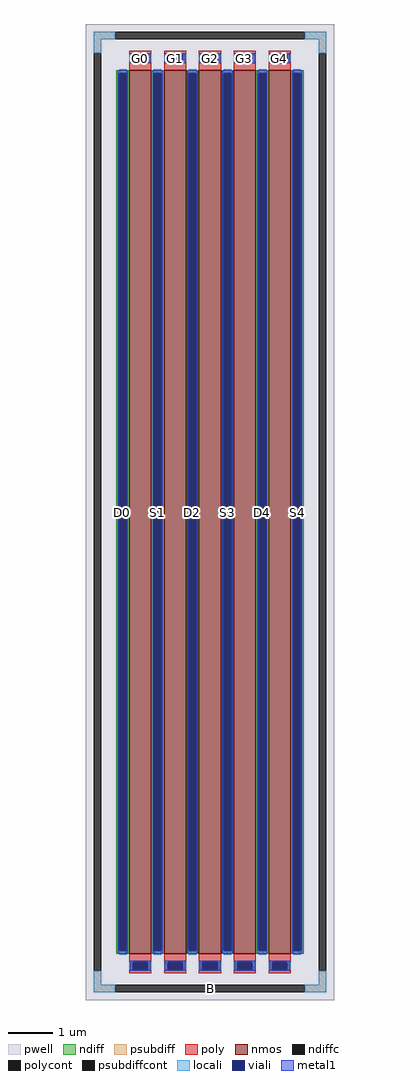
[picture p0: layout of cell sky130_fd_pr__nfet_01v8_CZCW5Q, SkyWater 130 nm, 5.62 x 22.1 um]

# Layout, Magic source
magic
tech sky130A
magscale 1 2
<< pwell >>
rect -562 -2210 562 2210
<< nmos >>
rect -366 -2000 -266 2000
rect -208 -2000 -108 2000
rect -50 -2000 50 2000
rect 108 -2000 208 2000
rect 266 -2000 366 2000
<< ndiff >>
rect -424 1988 -366 2000
rect -424 -1988 -412 1988
rect -378 -1988 -366 1988
rect -424 -2000 -366 -1988
rect -266 1988 -208 2000
rect -266 -1988 -254 1988
rect -220 -1988 -208 1988
rect -266 -2000 -208 -1988
rect -108 1988 -50 2000
rect -108 -1988 -96 1988
rect -62 -1988 -50 1988
rect -108 -2000 -50 -1988
rect 50 1988 108 2000
rect 50 -1988 62 1988
rect 96 -1988 108 1988
rect 50 -2000 108 -1988
rect 208 1988 266 2000
rect 208 -1988 220 1988
rect 254 -1988 266 1988
rect 208 -2000 266 -1988
rect 366 1988 424 2000
rect 366 -1988 378 1988
rect 412 -1988 424 1988
rect 366 -2000 424 -1988
<< ndiffc >>
rect -412 -1988 -378 1988
rect -254 -1988 -220 1988
rect -96 -1988 -62 1988
rect 62 -1988 96 1988
rect 220 -1988 254 1988
rect 378 -1988 412 1988
<< psubdiff >>
rect -526 2140 -430 2174
rect 430 2140 526 2174
rect -526 2078 -492 2140
rect 492 2078 526 2140
rect -526 -2140 -492 -2078
rect 492 -2140 526 -2078
rect -526 -2174 -430 -2140
rect 430 -2174 526 -2140
<< psubdiffcont >>
rect -430 2140 430 2174
rect -526 -2078 -492 2078
rect 492 -2078 526 2078
rect -430 -2174 430 -2140
<< poly >>
rect -366 2072 -266 2088
rect -366 2038 -350 2072
rect -282 2038 -266 2072
rect -366 2000 -266 2038
rect -208 2072 -108 2088
rect -208 2038 -192 2072
rect -124 2038 -108 2072
rect -208 2000 -108 2038
rect -50 2072 50 2088
rect -50 2038 -34 2072
rect 34 2038 50 2072
rect -50 2000 50 2038
rect 108 2072 208 2088
rect 108 2038 124 2072
rect 192 2038 208 2072
rect 108 2000 208 2038
rect 266 2072 366 2088
rect 266 2038 282 2072
rect 350 2038 366 2072
rect 266 2000 366 2038
rect -366 -2038 -266 -2000
rect -366 -2072 -350 -2038
rect -282 -2072 -266 -2038
rect -366 -2088 -266 -2072
rect -208 -2038 -108 -2000
rect -208 -2072 -192 -2038
rect -124 -2072 -108 -2038
rect -208 -2088 -108 -2072
rect -50 -2038 50 -2000
rect -50 -2072 -34 -2038
rect 34 -2072 50 -2038
rect -50 -2088 50 -2072
rect 108 -2038 208 -2000
rect 108 -2072 124 -2038
rect 192 -2072 208 -2038
rect 108 -2088 208 -2072
rect 266 -2038 366 -2000
rect 266 -2072 282 -2038
rect 350 -2072 366 -2038
rect 266 -2088 366 -2072
<< polycont >>
rect -350 2038 -282 2072
rect -192 2038 -124 2072
rect -34 2038 34 2072
rect 124 2038 192 2072
rect 282 2038 350 2072
rect -350 -2072 -282 -2038
rect -192 -2072 -124 -2038
rect -34 -2072 34 -2038
rect 124 -2072 192 -2038
rect 282 -2072 350 -2038
<< locali >>
rect -526 2140 -430 2174
rect 430 2140 526 2174
rect -526 2078 -492 2140
rect 492 2078 526 2140
rect -366 2038 -350 2072
rect -282 2038 -266 2072
rect -208 2038 -192 2072
rect -124 2038 -108 2072
rect -50 2038 -34 2072
rect 34 2038 50 2072
rect 108 2038 124 2072
rect 192 2038 208 2072
rect 266 2038 282 2072
rect 350 2038 366 2072
rect -412 1988 -378 2004
rect -412 -2004 -378 -1988
rect -254 1988 -220 2004
rect -254 -2004 -220 -1988
rect -96 1988 -62 2004
rect -96 -2004 -62 -1988
rect 62 1988 96 2004
rect 62 -2004 96 -1988
rect 220 1988 254 2004
rect 220 -2004 254 -1988
rect 378 1988 412 2004
rect 378 -2004 412 -1988
rect -366 -2072 -350 -2038
rect -282 -2072 -266 -2038
rect -208 -2072 -192 -2038
rect -124 -2072 -108 -2038
rect -50 -2072 -34 -2038
rect 34 -2072 50 -2038
rect 108 -2072 124 -2038
rect 192 -2072 208 -2038
rect 266 -2072 282 -2038
rect 350 -2072 366 -2038
rect -526 -2140 -492 -2078
rect 492 -2140 526 -2078
rect -526 -2174 -430 -2140
rect 430 -2174 526 -2140
<< viali >>
rect -350 2038 -282 2072
rect -192 2038 -124 2072
rect -34 2038 34 2072
rect 124 2038 192 2072
rect 282 2038 350 2072
rect -412 -1988 -378 1988
rect -254 -1988 -220 1988
rect -96 -1988 -62 1988
rect 62 -1988 96 1988
rect 220 -1988 254 1988
rect 378 -1988 412 1988
rect -350 -2072 -282 -2038
rect -192 -2072 -124 -2038
rect -34 -2072 34 -2038
rect 124 -2072 192 -2038
rect 282 -2072 350 -2038
<< metal1 >>
rect -362 2072 -270 2078
rect -362 2038 -350 2072
rect -282 2038 -270 2072
rect -362 2032 -270 2038
rect -204 2072 -112 2078
rect -204 2038 -192 2072
rect -124 2038 -112 2072
rect -204 2032 -112 2038
rect -46 2072 46 2078
rect -46 2038 -34 2072
rect 34 2038 46 2072
rect -46 2032 46 2038
rect 112 2072 204 2078
rect 112 2038 124 2072
rect 192 2038 204 2072
rect 112 2032 204 2038
rect 270 2072 362 2078
rect 270 2038 282 2072
rect 350 2038 362 2072
rect 270 2032 362 2038
rect -418 1988 -372 2000
rect -418 -1988 -412 1988
rect -378 -1988 -372 1988
rect -418 -2000 -372 -1988
rect -260 1988 -214 2000
rect -260 -1988 -254 1988
rect -220 -1988 -214 1988
rect -260 -2000 -214 -1988
rect -102 1988 -56 2000
rect -102 -1988 -96 1988
rect -62 -1988 -56 1988
rect -102 -2000 -56 -1988
rect 56 1988 102 2000
rect 56 -1988 62 1988
rect 96 -1988 102 1988
rect 56 -2000 102 -1988
rect 214 1988 260 2000
rect 214 -1988 220 1988
rect 254 -1988 260 1988
rect 214 -2000 260 -1988
rect 372 1988 418 2000
rect 372 -1988 378 1988
rect 412 -1988 418 1988
rect 372 -2000 418 -1988
rect -362 -2038 -270 -2032
rect -362 -2072 -350 -2038
rect -282 -2072 -270 -2038
rect -362 -2078 -270 -2072
rect -204 -2038 -112 -2032
rect -204 -2072 -192 -2038
rect -124 -2072 -112 -2038
rect -204 -2078 -112 -2072
rect -46 -2038 46 -2032
rect -46 -2072 -34 -2038
rect 34 -2072 46 -2038
rect -46 -2078 46 -2072
rect 112 -2038 204 -2032
rect 112 -2072 124 -2038
rect 192 -2072 204 -2038
rect 112 -2078 204 -2072
rect 270 -2038 362 -2032
rect 270 -2072 282 -2038
rect 350 -2072 362 -2038
rect 270 -2078 362 -2072
<< labels >>
rlabel psubdiffcont 0 -2157 0 -2157 0 B
port 1 nsew
rlabel ndiffc -395 0 -395 0 0 D0
port 2 nsew
rlabel polycont -316 2055 -316 2055 0 G0
port 3 nsew
rlabel ndiffc -237 0 -237 0 0 S1
port 4 nsew
rlabel polycont -158 2055 -158 2055 0 G1
port 5 nsew
rlabel ndiffc -79 0 -79 0 0 D2
port 6 nsew
rlabel polycont 0 2055 0 2055 0 G2
port 7 nsew
rlabel ndiffc 79 0 79 0 0 S3
port 8 nsew
rlabel polycont 158 2055 158 2055 0 G3
port 9 nsew
rlabel ndiffc 237 0 237 0 0 D4
port 10 nsew
rlabel ndiffc 395 0 395 0 0 S4
port 11 nsew
rlabel polycont 316 2055 316 2055 0 G4
port 12 nsew
<< properties >>
string FIXED_BBOX -509 -2157 509 2157
string gencell sky130_fd_pr__nfet_01v8
string library sky130
string parameters w 20 l 0.5 m 1 nf 5 diffcov 100 polycov 100 guard 1 glc 1 grc 1 gtc 1 gbc 1 tbcov 100 rlcov 100 topc 1 botc 1 poverlap 0 doverlap 1 lmin 0.15 wmin 0.42 class mosfet compatible {sky130_fd_pr__nfet_01v8 sky130_fd_pr__nfet_01v8_lvt  sky130_fd_bs_flash__special_sonosfet_star  sky130_fd_pr__nfet_g5v0d10v5 sky130_fd_pr__nfet_05v0_nvt  sky130_fd_pr__nfet_03v3_nvt} full_metal 1 conn_gates 0 viasrc 100 viadrn 100 viagate 100 viagb 0 viagr 0 viagl 0 viagt 0 doports 1
<< end >>
